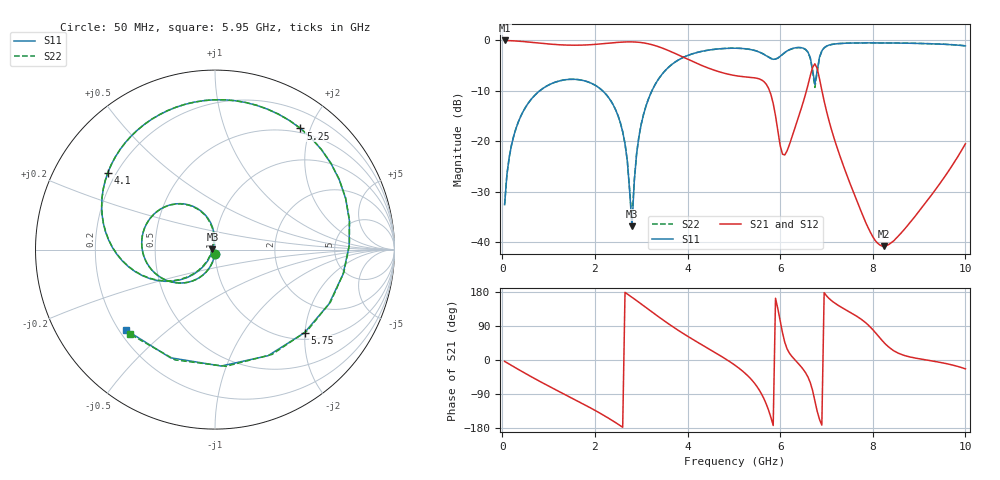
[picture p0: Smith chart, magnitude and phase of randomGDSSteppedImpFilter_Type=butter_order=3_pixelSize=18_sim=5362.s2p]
! freq	dB(S11)	phase(S11)	dB(S12)	phase(S12)
!  dB(S21)	phase(S21)	dB(S22)	phase(S22)
!S-par simulation data
#  GHz  S  DB  R 50
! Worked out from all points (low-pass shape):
!   200 points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, 50 MHz to 10 GHz, reference 50 ohm
!   highest |S21| = -0.01 dB at 50 MHz (marker M1); lowest = -40.8 dB at 8.25 GHz (marker M2)
!   |S21| within 3 dB of the highest: start of sweep to 3.831 GHz
!   lowest |S11| = -36.9 dB at 2.8 GHz (marker M3), VSWR 1.03, Z = 48.6 + j0.0954 ohm
!   |S11| at or under -10 dB: start of sweep to 807.6 MHz; 2.166 GHz to 3.231 GHz (1.065 GHz wide, 39.5 % of centre)
!   |S22| runs from -35.6 to -0.5 dB; largest |S21 - S12| = 0
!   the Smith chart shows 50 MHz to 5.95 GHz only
!   S11 on the Smith chart (normalised r, x): 50 MHz: 1.00, -0.05; 4.1 GHz: 0.17, +0.31; 5.25 GHz: 0.43, +1.85; 5.75 GHz: 1.15, -1.99; 5.95 GHz: 0.23, -0.37
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0.05  -32.57 -93.5  -0.01 -3.7  -0.01 -3.7  -32.57 -93.5
0.2  -20.71 -104.6  -0.06 -14.5  -0.06 -14.5  -20.71 -104.6
0.5  -13.29 -126.0  -0.26 -35.5  -0.26 -35.5  -13.29 -125.9
1.75  -7.96 153.5  -0.92 -116.3  -0.92 -116.3  -7.96 153.8
2.5  -14.95 102.7  -0.39 -169.4  -0.39 -169.4  -14.95 103.5
2.7  -23.93 92.8  -0.29 174.2  -0.29 174.2  -23.88 95.2
2.8  -36.87 176.1  -0.29 165.6  -0.29 165.6  -35.64 175.5
3  -16.63 -127.5  -0.43 147.8  -0.43 147.8  -16.61 -128.5
3.4  -7.31 -160.4  -1.33 111.8  -1.33 111.8  -7.31 -160.7
4.1  -2.67 144.3  -4.14 55.3  -4.14 55.3  -2.67 144.3
5.05  -1.55 74.0  -7.01 -16.1  -7.01 -16.1  -1.55 74.1
5.25  -1.66 54.8  -7.24 -35.8  -7.24 -35.8  -1.66 55.0
5.75  -3.34 -42.9  -9.49 -132.6  -9.49 -132.6  -3.29 -41.4
5.95  -3.50 -138.0  -17.93 135.5  -17.93 135.5  -3.50 -135.3
6.1  -2.40 159.9  -22.71 46.5  -22.71 46.5  -2.43 161.9
6.3  -1.52 110.7  -17.89 2.9  -17.89 2.9  -1.54 111.8
6.7  -5.81 47.9  -5.35 -80.2  -5.35 -80.2  -6.05 46.9
6.8  -5.94 89.1  -5.57 -135.4  -5.57 -135.4  -6.23 92.0
7  -1.14 64.3  -13.97 169.6  -13.97 169.6  -1.16 65.8
8.25  -0.50 -11.0  -40.80 45.1  -40.80 45.1  -0.50 -10.1
8.35  -0.50 -15.5  -40.45 33.7  -40.45 33.7  -0.50 -14.6
10  -1.09 -89.2  -20.50 -23.4  -20.50 -23.4  -1.07 -87.6
